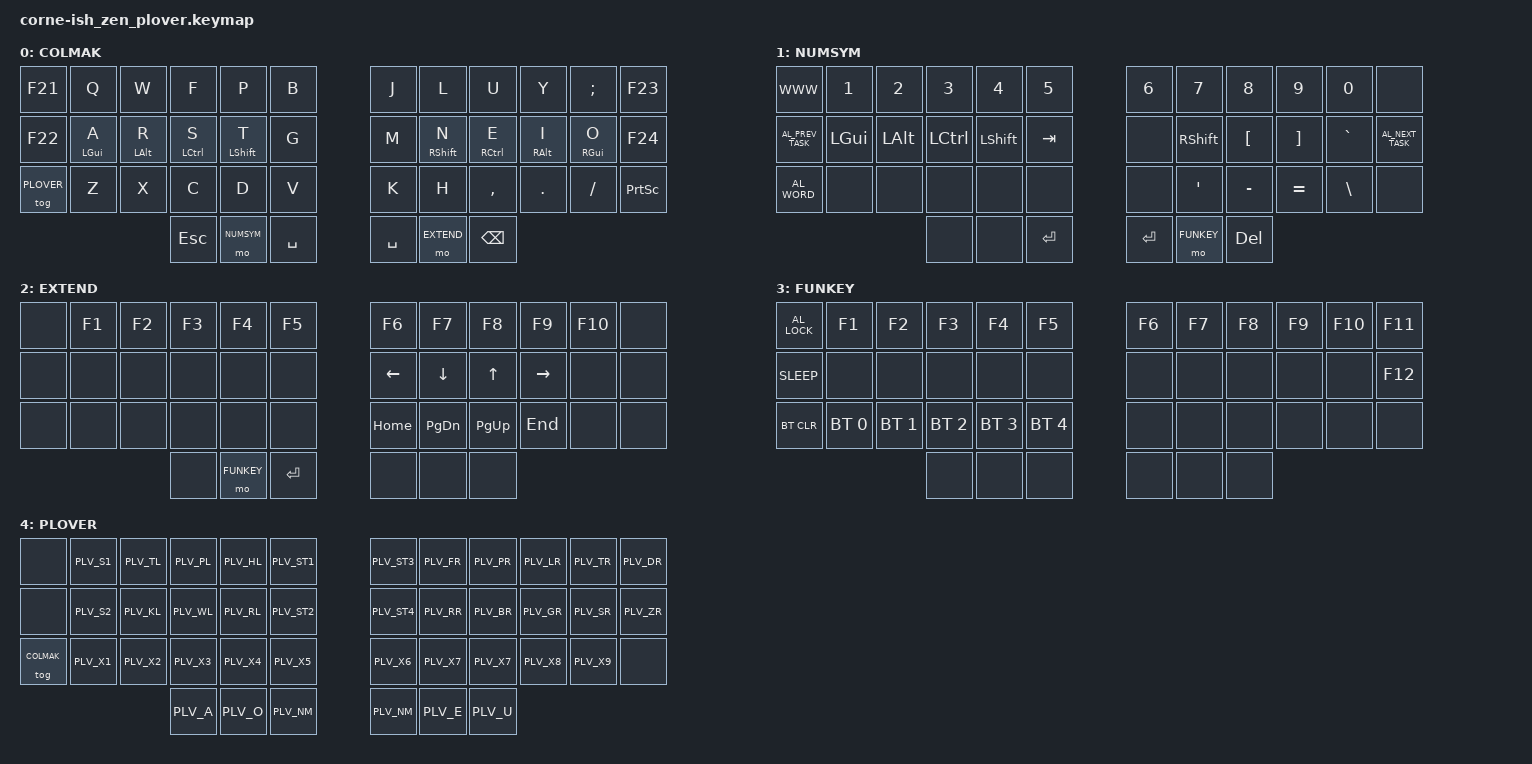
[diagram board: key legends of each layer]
/*
*
* Copyright (c) 2021 lowprokb.ca
* SPDX-License-Identifier: MIT
*
*/

#include <behaviors.dtsi>
#include <dt-bindings/zmk/keys.h>
#include <dt-bindings/zmk/bt.h>

#define COLMAK 0
#define NUMSYM 1
#define EXTEND 2
#define FUNKEY 3
#define PLOVER 4

/ {
    behaviors {
        hm: homerow_mods {
            compatible = "zmk,behavior-hold-tap";
            label = "HOMEROW_MODS";
            #binding-cells = <2>;
            tapping-term-ms = <200>;
            quick_tap_ms = <0>;
            flavor = "tap-preferred";
            bindings = <&kp>, <&kp>;
        };
    };
    keymap {
        compatible = "zmk,keymap";

        default_layer {
            label = "COLMAK";
            bindings = <
   &kp     F21 &kp      Q &kp      W &kp       F &kp        P  &kp B        &kp J   &kp        L &kp       U &kp      Y &kp   SEMI  &kp   F23
   &kp     F22 &hm LGUI A &hm LALT R &hm LCTRL S &hm LSHIFT T  &kp G        &kp M   &hm RSHIFT N &hm RCTRL E &hm RALT I &hm RGUI O  &kp   F24
   &tog PLOVER &kp      Z &kp      X &kp       C &kp        D  &kp V        &kp K   &kp        H &kp    CMMA &kp    DOT &kp   FSLH  &kp PSCRN
                                     &kp ESC    &mo NUMSYM    &kp SPC      &kp SPC &mo EXTEND   &kp    BSPC
            >;
        };

        numsym_layer {
            label = "NUMSYM";
            bindings = <
   &kp K_WWW          &kp   N1 &kp   N2 &kp    N3 &kp     N4 &kp N5       &kp N6  &kp N7     &kp N8    &kp N9    &kp N0    &none
   &kp C_AL_PREV_TASK &kp LGUI &kp LALT &kp LCTRL &kp LSHIFT &kp TAB      &none   &kp RSHIFT &kp LBKT  &kp RBKT  &kp GRAVE &kp C_AL_NEXT_TASK
   &kp C_AL_WORD      &none    &none    &none     &none      &none        &none   &kp SQT    &kp MINUS &kp EQUAL &kp BSLH  &none
                           &none     &none      &kp RET      &kp RET &mo FUNKEY &kp DEL
            >;
        };

        extended_layer {
            label = "EXTEND";
            bindings = <
   &none  &kp F1 &kp F2 &kp F3 &kp F4     &kp F5        &kp F6   &kp F7    &kp F8    &kp F9    &kp F10 &none
   &none  &none  &none  &none  &none      &none         &kp LEFT &kp DOWN  &kp UP    &kp RIGHT &none   &none
   &none  &none  &none  &none  &none      &none         &kp HOME &kp PG_DN &kp PG_UP &kp END   &none   &none
                        &none  &mo FUNKEY &kp RET       &none  &none  &none
            >;
        };

        function_layer {
            label = "FUNKEY";
            bindings = <
   &kp C_AL_LOCK  &kp F1       &kp F2       &kp F3       &kp F4       &kp F5        &kp F6 &kp F7 &kp F8 &kp F9 &kp F10 &kp F11
   &kp K_SLEEP    &none        &none        &none        &none        &none         &none  &none  &none  &none  &none   &kp F12
   &bt BT_CLR     &bt BT_SEL 0 &bt BT_SEL 1 &bt BT_SEL 2 &bt BT_SEL 3 &bt BT_SEL 4  &none  &none  &none  &none  &none   &none
                        &none        &none    &none     &none  &none  &none
            >;
        };

        plover_layer {
            label = "PLOVER";
            bindings = <
   &none        &kp  PLV_S1  &kp PLV_TL  &kp PLV_PL  &kp PLV_HL  &kp PLV_ST1       &kp PLV_ST3  &kp PLV_FR  &kp PLV_PR  &kp PLV_LR  &kp PLV_TR  &kp PLV_DR
   &none        &kp  PLV_S2  &kp PLV_KL  &kp PLV_WL  &kp PLV_RL  &kp PLV_ST2       &kp PLV_ST4  &kp PLV_RR  &kp PLV_BR  &kp PLV_GR  &kp PLV_SR  &kp PLV_ZR
   &tog COLMAK  &kp  PLV_X1  &kp PLV_X2  &kp PLV_X3  &kp PLV_X4  &kp PLV_X5        &kp PLV_X6   &kp PLV_X7  &kp PLV_X7  &kp PLV_X8  &kp PLV_X9  &none
                                          &kp PLV_A   &kp PLV_O  &kp PLV_NM        &kp PLV_NM   &kp PLV_E   &kp PLV_U
            >;
        };

    };
};
